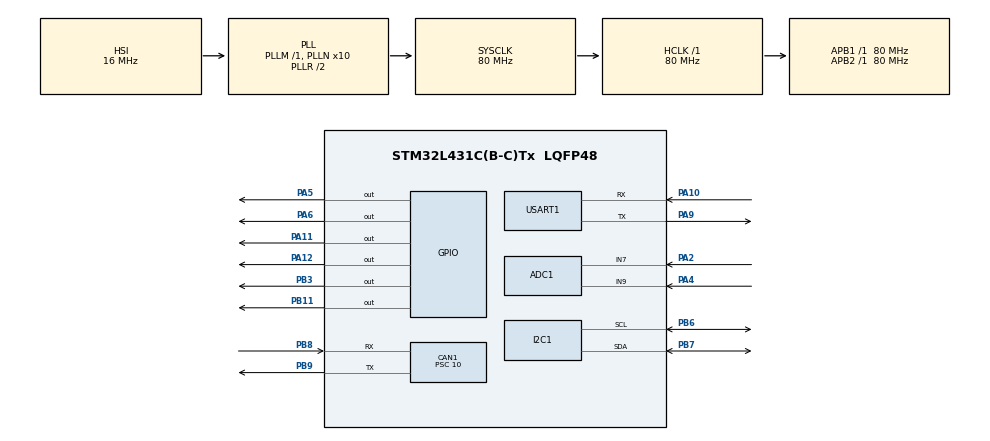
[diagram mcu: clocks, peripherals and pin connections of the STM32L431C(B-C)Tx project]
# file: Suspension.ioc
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ADC1.Channel-0\#ChannelRegularConversion=ADC_CHANNEL_9
ADC1.NbrOfConversionFlag=1
ADC1.OffsetNumber-0\#ChannelRegularConversion=ADC_OFFSET_NONE
ADC1.OversamplingMode=ENABLE
ADC1.Rank-0\#ChannelRegularConversion=1
ADC1.Ratio=ADC_OVERSAMPLING_RATIO_16
ADC1.RightBitShift=ADC_RIGHTBITSHIFT_4
ADC1.SamplingTime-0\#ChannelRegularConversion=ADC_SAMPLETIME_2CYCLES_5
ADC1.master=1
CAN1.ABOM=ENABLE
CAN1.AWUM=ENABLE
CAN1.BS1=CAN_BS1_12TQ
CAN1.BS2=CAN_BS2_3TQ
CAN1.CalculateBaudRate=500000
CAN1.CalculateTimeBit=2000
CAN1.CalculateTimeQuantum=125.0
CAN1.NART=ENABLE
CAN1.Prescaler=10
CAN1.TXFP=ENABLE
I2C1.Timing=0x10D19CE4
Mcu.Family=STM32L4
Mcu.Name=STM32L431C(B-C)Tx
Mcu.Package=LQFP48
NVIC.CAN1_RX0_IRQn=true\:0\:0\:false\:false\:true\:true\:true\:true
NVIC.CAN1_RX1_IRQn=true\:0\:0\:false\:false\:true\:true\:true\:true
NVIC.CAN1_SCE_IRQn=true\:0\:0\:false\:false\:true\:true\:true\:true
NVIC.CAN1_TX_IRQn=true\:0\:0\:false\:false\:true\:true\:true\:true
NVIC.PriorityGroup=NVIC_PRIORITYGROUP_4
NVIC.TIM2_IRQn=true\:0\:0\:false\:false\:true\:true\:true\:true
PA10.Mode=Asynchronous
PA10.Signal=USART1_RX
PA11.Signal=GPIO_Output
PA12.Signal=GPIO_Output
PA2.Signal=ADCx_IN7
PA4.Signal=ADCx_IN9
PA5.Signal=GPIO_Output
PA6.Signal=GPIO_Output
PA9.Mode=Asynchronous
PA9.Signal=USART1_TX
PB11.Signal=GPIO_Output
PB3\ (JTDO-TRACESWO).Signal=GPIO_Output
PB6.Mode=I2C
PB6.Signal=I2C1_SCL
PB7.Mode=I2C
PB7.Signal=I2C1_SDA
PB8.Mode=CAN_Activate
PB8.Signal=CAN1_RX
PB9.Mode=CAN_Activate
PB9.Signal=CAN1_TX
ProjectManager.HeapSize=0x200
ProjectManager.StackSize=0x400
ProjectManager.TargetToolchain=STM32CubeIDE
RCC.ADCFreq_Value=64000000
RCC.AHBFreq_Value=80000000
RCC.APB1Freq_Value=80000000
RCC.APB1TimFreq_Value=80000000
RCC.APB2Freq_Value=80000000
RCC.APB2TimFreq_Value=80000000
RCC.CortexFreq_Value=80000000
RCC.HCLKFreq_Value=80000000
RCC.HSE_VALUE=8000000
RCC.HSI48_VALUE=48000000
RCC.HSI_VALUE=16000000
RCC.LSE_VALUE=32768
RCC.MSI_VALUE=4000000
RCC.PLLN=10
RCC.PLLSourceVirtual=RCC_PLLSOURCE_HSI
RCC.SYSCLKFreq_VALUE=80000000
RCC.SYSCLKSource=RCC_SYSCLKSOURCE_PLLCLK
RCC.VCOOutputFreq_Value=160000000
SH.ADCx_IN7.0=ADC1_IN7,IN7-Single-Ended
SH.ADCx_IN9.0=ADC1_IN9,IN9-Single-Ended
TIM2.AutoReloadPreload=TIM_AUTORELOAD_PRELOAD_ENABLE
TIM2.Period=9
TIM2.Prescaler=3999
USART1.VirtualMode-Asynchronous=VM_ASYNC
VP_TIM2_VS_ClockSourceINT.Mode=Internal
board=custom

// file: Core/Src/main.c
/* USER CODE BEGIN Header */
/**
  ******************************************************************************
  * @file           : main.c
  * @brief          : Main program body
  ******************************************************************************
  * @attention
  *
  * Copyright (c) 2026 STMicroelectronics.
  * All rights reserved.
  *
  * This software is licensed under terms that can be found in the LICENSE file
  * in the root directory of this software component.
  * If no LICENSE file comes with this software, it is provided AS-IS.
  *
  ******************************************************************************
  */
/* USER CODE END Header */
#include "main.h"

/* USER CODE BEGIN Includes */
#include <stdio.h>
#include "can_fifo.h"
#include "adcMeasurements.h"
/* USER CODE END Includes */

ADC_HandleTypeDef hadc1;

CAN_HandleTypeDef hcan1;

I2C_HandleTypeDef hi2c1;

TIM_HandleTypeDef htim2;

UART_HandleTypeDef huart1;

/* USER CODE BEGIN PV */

PackedCANMSG msg_buffer[64];

CircularFIFO my_fifo;

volatile uint16_t timestamp = 0;
/* USER CODE END PV */

void SystemClock_Config(void);
static void MX_GPIO_Init(void);
static void MX_ADC1_Init(void);
static void MX_USART1_UART_Init(void);
static void MX_I2C1_Init(void);
static void MX_CAN1_Init(void);
static void MX_TIM2_Init(void);
/* USER CODE BEGIN PFP */
void proccess_adc_reading(uint16_t new_adc_val);
/* USER CODE END PFP */

/* USER CODE BEGIN 0 */

void proccess_adc_reading(uint16_t new_adc_val){
  static uint16_t temp_read[4];
  static uint8_t adc_count = 0;
  temp_read[adc_count] = new_adc_val;
  adc_count++;
  if(adc_count == 4){
    PackedCANMSG new_msg;

    new_msg.bytes[0] = (timestamp >> 8) & 0xFF; // high byte
    new_msg.bytes[1] = timestamp & 0xFF; // low byte

    // Value 1 (12 bits) & Value 2 (first 4 bits)
    new_msg.bytes[2] = (temp_read[0] >> 4) & 0xFF;
    new_msg.bytes[3] = ((temp_read[0] & 0x0F) << 4) | ((temp_read[1] >> 8) & 0x0F);

    // Value 2 (last 8 bits)
    new_msg.bytes[4] = temp_read[1] & 0xFF;

    // Value 3 (12 bits) & Value 4 (first 4 bits)
    new_msg.bytes[5] = (temp_read[2] >> 4) & 0xFF;
    new_msg.bytes[6] = ((temp_read[2] & 0x0F) << 4) | ((temp_read[3] >> 8) & 0x0F);

    // Value 4 (last 8 bits)
    new_msg.bytes[7] = temp_read[3] & 0xFF;

    fifo_enqueue(&my_fifo, new_msg);

    // Reset the counter for the next batch
    adc_count = 0;
  }
}
/* USER CODE END 0 */

int main(void)
{

  /* MCU Configuration--------------------------------------------------------*/

  /* Reset of all peripherals, Initializes the Flash interface and the Systick. */
  HAL_Init();

  /* Configure the system clock */
  SystemClock_Config();

  /* Initialize all configured peripherals */
  MX_GPIO_Init();
  MX_ADC1_Init();
  MX_USART1_UART_Init();
  MX_I2C1_Init();
  MX_CAN1_Init();
  MX_TIM2_Init();
  /* USER CODE BEGIN 2 */
  // Send CAN Message:
  // HAL_StatusTypeDef HAL_CAN_AddTxMessage(CAN_HandleTypeDef *hcan, const CAN_TxHeaderTypeDef *pHeader,
  //                                      const uint8_t aData[], uint32_t *pTxMailbox);
  CAN_TxHeaderTypeDef txHeader;
  txHeader.StdId = 0x122;
  txHeader.IDE = CAN_ID_STD;
  txHeader.RTR = CAN_RTR_DATA; // Data frame (not remote)
  txHeader.DLC = 8; // 8 data bytes
  txHeader.TransmitGlobalTime = DISABLE; // TTCM disabled → must be DISABLE
  // init mailbox
  uint32_t txMailbox;

  uint32_t last_heartbeat = 0;

  uint16_t prescaler;
  uint16_t period;
  uint8_t result = calculateTimings(80000000,500,&prescaler, &period);
  if(result){
    htim2.Instance->PSC = prescaler;
    htim2.Instance->ARR = period;

    // Force the timer to update its internal shadow registers
    htim2.Instance->EGR = TIM_EGR_UG;
  }

  // start hardware perifierals
  HAL_CAN_Start(&hcan1);
  HAL_TIM_Base_Start_IT(&htim2);
  HAL_ADCEx_Calibration_Start(&hadc1, ADC_SINGLE_ENDED);

  fifo_init(&my_fifo, msg_buffer, 4000);

  // CAN RECIEVE CODE:

  // CAN Recieve Filters: only filters out
  CAN_FilterTypeDef filterConfig;
  filterConfig.FilterBank = 0;
  filterConfig.FilterMode = CAN_FILTERMODE_IDMASK;
  filterConfig.FilterScale = CAN_FILTERSCALE_32BIT;
  filterConfig.FilterIdHigh = 0x0000;
  filterConfig.FilterIdLow = 0x0000;
  filterConfig.FilterMaskIdHigh = 0x0000;
  filterConfig.FilterMaskIdLow = 0x0000;
  filterConfig.FilterFIFOAssignment = CAN_RX_FIFO0;
  filterConfig.FilterActivation = ENABLE;
  filterConfig.SlaveStartFilterBank = 14;

  HAL_CAN_ConfigFilter(&hcan1, &filterConfig);

  HAL_CAN_ActivateNotification(&hcan1, CAN_IT_RX_FIFO0_MSG_PENDING);

  HAL_NVIC_SetPriority(CAN1_RX0_IRQn, 0, 0);
  HAL_NVIC_EnableIRQ(CAN1_RX0_IRQn);

  /* USER CODE END 2 */

  /* Infinite loop */
  /* USER CODE BEGIN WHILE */
  while (1){
    PackedCANMSG msg;
    uint8_t dequeued = 0;

    // race condition when writing to Fifo
    // while(fifo_is_empty(&my_fifo) != 1 && HAL_CAN_GetTxMailboxesFreeLevel(&hcan1) > 0){
    //   if(fifo_dequeue(&my_fifo,&msg) == 1){
    //     HAL_CAN_AddTxMessage(&hcan1, &txHeader, msg.bytes, &txMailbox);
    //   }
    // }
    // solution, break up into smaller pieces. first tackle getting data first, then turn interrupts back on to send out the can messages which takes more time.
    if(HAL_CAN_GetTxMailboxesFreeLevel(&hcan1) > 0){
      __disable_irq(); // Start Pause/section that would be cooked
      if(fifo_is_empty(&my_fifo) == 0){
        fifo_dequeue(&my_fifo, &msg);
        dequeued = 1;
      }
      __enable_irq(); // End section that would be cooked

      // Now this one can take however much time it needs to send out the data
      if(dequeued == 1){
        HAL_CAN_AddTxMessage(&hcan1, &txHeader, msg.bytes, &txMailbox);
      }
    }
    // we want to turn on Error LED when buffer HAS data, but CAN isn't transmitting
    if(fifo_is_empty(&my_fifo) != 1 && HAL_CAN_GetTxMailboxesFreeLevel(&hcan1) == 0){
      // if you are here, the fifo is filling up, but CAN is stuck
      HAL_GPIO_WritePin(GPIOA, GPIO_PIN_12, GPIO_PIN_SET);
    }else{
      HAL_GPIO_WritePin(GPIOA, GPIO_PIN_12, GPIO_PIN_RESET);
    }

    // non-blocking heartbeat
    if (HAL_GetTick() - last_heartbeat > 100) {
      HAL_GPIO_TogglePin(GPIOB, GPIO_PIN_11);
      last_heartbeat = HAL_GetTick(); // Save the "new" last time
    }
  }
    /* USER CODE END WHILE */

}

void SystemClock_Config(void)
{
  RCC_OscInitTypeDef RCC_OscInitStruct = {0};
  RCC_ClkInitTypeDef RCC_ClkInitStruct = {0};

  /** Configure the main internal regulator output voltage
  */
  if (HAL_PWREx_ControlVoltageScaling(PWR_REGULATOR_VOLTAGE_SCALE1) != HAL_OK)
  {
    Error_Handler();
  }

  /** Initializes the RCC Oscillators according to the specified parameters
  * in the RCC_OscInitTypeDef structure.
  */
  RCC_OscInitStruct.OscillatorType = RCC_OSCILLATORTYPE_HSI;
  RCC_OscInitStruct.HSIState = RCC_HSI_ON;
  RCC_OscInitStruct.HSICalibrationValue = RCC_HSICALIBRATION_DEFAULT;
  RCC_OscInitStruct.PLL.PLLState = RCC_PLL_ON;
  RCC_OscInitStruct.PLL.PLLSource = RCC_PLLSOURCE_HSI;
  RCC_OscInitStruct.PLL.PLLM = 1;
  RCC_OscInitStruct.PLL.PLLN = 10;
  RCC_OscInitStruct.PLL.PLLP = RCC_PLLP_DIV7;
  RCC_OscInitStruct.PLL.PLLQ = RCC_PLLQ_DIV2;
  RCC_OscInitStruct.PLL.PLLR = RCC_PLLR_DIV2;
  if (HAL_RCC_OscConfig(&RCC_OscInitStruct) != HAL_OK)
  {
    Error_Handler();
  }

  /** Initializes the CPU, AHB and APB buses clocks
  */
  RCC_ClkInitStruct.ClockType = RCC_CLOCKTYPE_HCLK|RCC_CLOCKTYPE_SYSCLK
                              |RCC_CLOCKTYPE_PCLK1|RCC_CLOCKTYPE_PCLK2;
  RCC_ClkInitStruct.SYSCLKSource = RCC_SYSCLKSOURCE_PLLCLK;
  RCC_ClkInitStruct.AHBCLKDivider = RCC_SYSCLK_DIV1;
  RCC_ClkInitStruct.APB1CLKDivider = RCC_HCLK_DIV1;
  RCC_ClkInitStruct.APB2CLKDivider = RCC_HCLK_DIV1;

  if (HAL_RCC_ClockConfig(&RCC_ClkInitStruct, FLASH_LATENCY_4) != HAL_OK)
  {
    Error_Handler();
  }
}

static void MX_ADC1_Init(void)
{

  ADC_ChannelConfTypeDef sConfig = {0};

  /** Common config
  */
  hadc1.Instance = ADC1;
  hadc1.Init.ClockPrescaler = ADC_CLOCK_ASYNC_DIV1;
  hadc1.Init.Resolution = ADC_RESOLUTION_12B;
  hadc1.Init.DataAlign = ADC_DATAALIGN_RIGHT;
  hadc1.Init.ScanConvMode = ADC_SCAN_DISABLE;
  hadc1.Init.EOCSelection = ADC_EOC_SINGLE_CONV;
  hadc1.Init.LowPowerAutoWait = DISABLE;
  hadc1.Init.ContinuousConvMode = DISABLE;
  hadc1.Init.NbrOfConversion = 1;
  hadc1.Init.DiscontinuousConvMode = DISABLE;
  hadc1.Init.ExternalTrigConv = ADC_SOFTWARE_START;
  hadc1.Init.ExternalTrigConvEdge = ADC_EXTERNALTRIGCONVEDGE_NONE;
  hadc1.Init.DMAContinuousRequests = DISABLE;
  hadc1.Init.Overrun = ADC_OVR_DATA_PRESERVED;
  hadc1.Init.OversamplingMode = ENABLE;
  hadc1.Init.Oversampling.Ratio = ADC_OVERSAMPLING_RATIO_16;
  hadc1.Init.Oversampling.RightBitShift = ADC_RIGHTBITSHIFT_4;
  hadc1.Init.Oversampling.TriggeredMode = ADC_TRIGGEREDMODE_SINGLE_TRIGGER;
  hadc1.Init.Oversampling.OversamplingStopReset = ADC_REGOVERSAMPLING_CONTINUED_MODE;
  if (HAL_ADC_Init(&hadc1) != HAL_OK)
  {
    Error_Handler();
  }

  /** Configure Regular Channel
  */
  sConfig.Channel = ADC_CHANNEL_9;
  sConfig.Rank = ADC_REGULAR_RANK_1;
  sConfig.SamplingTime = ADC_SAMPLETIME_2CYCLES_5;
  sConfig.SingleDiff = ADC_SINGLE_ENDED;
  sConfig.OffsetNumber = ADC_OFFSET_NONE;
  sConfig.Offset = 0;
  if (HAL_ADC_ConfigChannel(&hadc1, &sConfig) != HAL_OK)
  {
    Error_Handler();
  }

}

static void MX_CAN1_Init(void)
{

  hcan1.Instance = CAN1;
  hcan1.Init.Prescaler = 10;
  hcan1.Init.Mode = CAN_MODE_NORMAL;
  hcan1.Init.SyncJumpWidth = CAN_SJW_1TQ;
  hcan1.Init.TimeSeg1 = CAN_BS1_12TQ;
  hcan1.Init.TimeSeg2 = CAN_BS2_3TQ;
  hcan1.Init.TimeTriggeredMode = DISABLE;
  hcan1.Init.AutoBusOff = ENABLE;
  hcan1.Init.AutoWakeUp = ENABLE;
  hcan1.Init.AutoRetransmission = ENABLE;
  hcan1.Init.ReceiveFifoLocked = DISABLE;
  hcan1.Init.TransmitFifoPriority = ENABLE;
  if (HAL_CAN_Init(&hcan1) != HAL_OK)
  {
    Error_Handler();
  }

}

static void MX_I2C1_Init(void)
{

  hi2c1.Instance = I2C1;
  hi2c1.Init.Timing = 0x10D19CE4;
  hi2c1.Init.OwnAddress1 = 0;
  hi2c1.Init.AddressingMode = I2C_ADDRESSINGMODE_7BIT;
  hi2c1.Init.DualAddressMode = I2C_DUALADDRESS_DISABLE;
  hi2c1.Init.OwnAddress2 = 0;
  hi2c1.Init.OwnAddress2Masks = I2C_OA2_NOMASK;
  hi2c1.Init.GeneralCallMode = I2C_GENERALCALL_DISABLE;
  hi2c1.Init.NoStretchMode = I2C_NOSTRETCH_DISABLE;
  if (HAL_I2C_Init(&hi2c1) != HAL_OK)
  {
    Error_Handler();
  }

  /** Configure Analogue filter
  */
  if (HAL_I2CEx_ConfigAnalogFilter(&hi2c1, I2C_ANALOGFILTER_ENABLE) != HAL_OK)
  {
    Error_Handler();
  }

  /** Configure Digital filter
  */
  if (HAL_I2CEx_ConfigDigitalFilter(&hi2c1, 0) != HAL_OK)
  {
    Error_Handler();
  }

}

static void MX_TIM2_Init(void)
{

  TIM_ClockConfigTypeDef sClockSourceConfig = {0};
  TIM_MasterConfigTypeDef sMasterConfig = {0};

  htim2.Instance = TIM2;
  htim2.Init.Prescaler = 3999;
  htim2.Init.CounterMode = TIM_COUNTERMODE_UP;
  htim2.Init.Period = 9;
  htim2.Init.ClockDivision = TIM_CLOCKDIVISION_DIV1;
  htim2.Init.AutoReloadPreload = TIM_AUTORELOAD_PRELOAD_ENABLE;
  if (HAL_TIM_Base_Init(&htim2) != HAL_OK)
  {
    Error_Handler();
  }
  sClockSourceConfig.ClockSource = TIM_CLOCKSOURCE_INTERNAL;
  if (HAL_TIM_ConfigClockSource(&htim2, &sClockSourceConfig) != HAL_OK)
  {
    Error_Handler();
  }
  sMasterConfig.MasterOutputTrigger = TIM_TRGO_RESET;
  sMasterConfig.MasterSlaveMode = TIM_MASTERSLAVEMODE_DISABLE;
  if (HAL_TIMEx_MasterConfigSynchronization(&htim2, &sMasterConfig) != HAL_OK)
  {
    Error_Handler();
  }

}

static void MX_USART1_UART_Init(void)
{

  huart1.Instance = USART1;
  huart1.Init.BaudRate = 115200;
  huart1.Init.WordLength = UART_WORDLENGTH_8B;
  huart1.Init.StopBits = UART_STOPBITS_1;
  huart1.Init.Parity = UART_PARITY_NONE;
  huart1.Init.Mode = UART_MODE_TX_RX;
  huart1.Init.HwFlowCtl = UART_HWCONTROL_NONE;
  huart1.Init.OverSampling = UART_OVERSAMPLING_16;
  huart1.Init.OneBitSampling = UART_ONE_BIT_SAMPLE_DISABLE;
  huart1.AdvancedInit.AdvFeatureInit = UART_ADVFEATURE_NO_INIT;
  if (HAL_UART_Init(&huart1) != HAL_OK)
  {
    Error_Handler();
  }

}

static void MX_GPIO_Init(void)
{
  GPIO_InitTypeDef GPIO_InitStruct = {0};

  /* GPIO Ports Clock Enable */
  __HAL_RCC_GPIOA_CLK_ENABLE();
  __HAL_RCC_GPIOB_CLK_ENABLE();

  /*Configure GPIO pin Output Level */
  HAL_GPIO_WritePin(GPIOA, GPIO_PIN_5|GPIO_PIN_6|GPIO_PIN_11|GPIO_PIN_12, GPIO_PIN_RESET);

  /*Configure GPIO pin Output Level */
  HAL_GPIO_WritePin(GPIOB, GPIO_PIN_11|GPIO_PIN_3, GPIO_PIN_RESET);

  /*Configure GPIO pins : PA5 PA6 PA11 PA12 */
  GPIO_InitStruct.Pin = GPIO_PIN_5|GPIO_PIN_6|GPIO_PIN_11|GPIO_PIN_12;
  GPIO_InitStruct.Mode = GPIO_MODE_OUTPUT_PP;
  GPIO_InitStruct.Pull = GPIO_NOPULL;
  GPIO_InitStruct.Speed = GPIO_SPEED_FREQ_LOW;
  HAL_GPIO_Init(GPIOA, &GPIO_InitStruct);

  /*Configure GPIO pins : PB11 PB3 */
  GPIO_InitStruct.Pin = GPIO_PIN_11|GPIO_PIN_3;
  GPIO_InitStruct.Mode = GPIO_MODE_OUTPUT_PP;
  GPIO_InitStruct.Pull = GPIO_NOPULL;
  GPIO_InitStruct.Speed = GPIO_SPEED_FREQ_LOW;
  HAL_GPIO_Init(GPIOB, &GPIO_InitStruct);

}

/* USER CODE BEGIN 4 */
// interrupt service routine for Tim1
void HAL_TIM_PeriodElapsedCallback(TIM_HandleTypeDef *htim){

  // comes here for all instances of TIMER interrupt occuring, so we must check if this one is the right one.
  if(htim->Instance == TIM2){

    int16_t value = readADC(&hadc1);
    if(value != -1){
        proccess_adc_reading(value);
    }
  }
}

// interrupt service routine for CANRX
void HAL_CAN_RxFifo0MsgPendingCallback(CAN_HandleTypeDef *hcan){
  if(hcan->Instance == CAN1){
    CAN_RxHeaderTypeDef recieve;
    uint8_t data[8];
    if(HAL_CAN_GetRxMessage(hcan,CAN_RX_FIFO0,&recieve,data) == HAL_OK){
      if(recieve.StdId == 0x00){
        timestamp = (data[0] << 8) | data[1];
        HAL_GPIO_TogglePin(GPIOA, GPIO_PIN_6);
      }
    }
  }
}
/* USER CODE END 4 */

void Error_Handler(void)
{
  __disable_irq();
  while (1)
  {
  }
}
